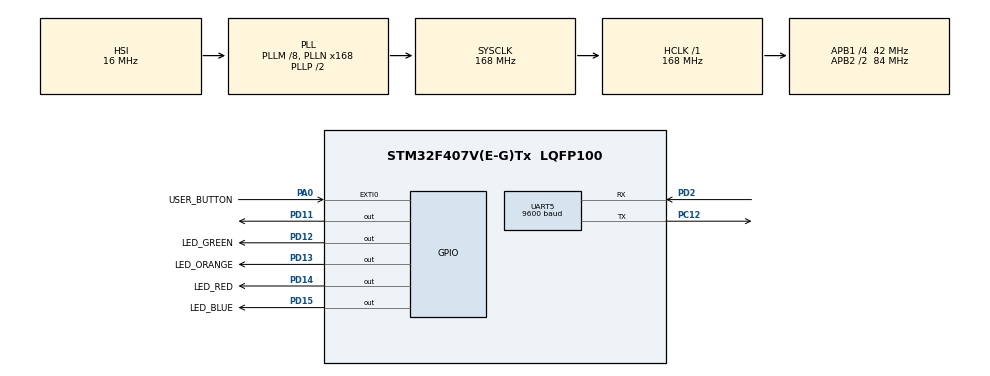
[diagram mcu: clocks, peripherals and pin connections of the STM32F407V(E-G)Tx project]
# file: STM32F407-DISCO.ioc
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Dma.Request0=UART5_RX
Dma.UART5_RX.0.Direction=DMA_PERIPH_TO_MEMORY
Dma.UART5_RX.0.FIFOMode=DMA_FIFOMODE_DISABLE
Dma.UART5_RX.0.Instance=DMA1_Stream0
Dma.UART5_RX.0.MemDataAlignment=DMA_MDATAALIGN_BYTE
Dma.UART5_RX.0.MemInc=DMA_MINC_ENABLE
Dma.UART5_RX.0.Mode=DMA_CIRCULAR
Dma.UART5_RX.0.PeriphDataAlignment=DMA_PDATAALIGN_BYTE
Dma.UART5_RX.0.PeriphInc=DMA_PINC_DISABLE
Dma.UART5_RX.0.Priority=DMA_PRIORITY_MEDIUM
Mcu.Family=STM32F4
Mcu.Name=STM32F407V(E-G)Tx
Mcu.Package=LQFP100
NVIC.DMA1_Stream0_IRQn=true\:0\:0\:false\:false\:true\:false\:true\:true
NVIC.EXTI0_IRQn=true\:0\:0\:false\:false\:true\:true\:true\:true
NVIC.PriorityGroup=NVIC_PRIORITYGROUP_0
NVIC.TIM2_IRQn=true\:0\:0\:false\:false\:true\:true\:true\:true
PA0-WKUP.GPIO_Label=USER_BUTTON
PA0-WKUP.GPIO_PuPd=GPIO_PULLDOWN
PA0-WKUP.Signal=GPXTI0
PC12.Mode=Asynchronous
PC12.Signal=UART5_TX
PD11.Signal=GPIO_Output
PD12.GPIO_Label=LED_GREEN
PD12.GPIO_PuPd=GPIO_NOPULL
PD12.GPIO_Speed=GPIO_SPEED_FREQ_VERY_HIGH
PD12.Signal=GPIO_Output
PD13.GPIO_Label=LED_ORANGE
PD13.GPIO_PuPd=GPIO_NOPULL
PD13.GPIO_Speed=GPIO_SPEED_FREQ_VERY_HIGH
PD13.Signal=GPIO_Output
PD14.GPIO_Label=LED_RED
PD14.GPIO_PuPd=GPIO_NOPULL
PD14.GPIO_Speed=GPIO_SPEED_FREQ_VERY_HIGH
PD14.Signal=GPIO_Output
PD15.GPIO_Label=LED_BLUE
PD15.GPIO_PuPd=GPIO_NOPULL
PD15.GPIO_Speed=GPIO_SPEED_FREQ_VERY_HIGH
PD15.Signal=GPIO_Output
PD2.Mode=Asynchronous
PD2.Signal=UART5_RX
PH0-OSC_IN.Mode=HSE-External-Oscillator
PH0-OSC_IN.Signal=RCC_OSC_IN
PH1-OSC_OUT.Mode=HSE-External-Oscillator
PH1-OSC_OUT.Signal=RCC_OSC_OUT
ProjectManager.HeapSize=0x200
ProjectManager.StackSize=0x400
ProjectManager.TargetToolchain=STM32CubeIDE
RCC.48MHZClocksFreq_Value=48000000
RCC.AHBFreq_Value=168000000
RCC.APB1CLKDivider=RCC_HCLK_DIV4
RCC.APB1Freq_Value=42000000
RCC.APB1TimFreq_Value=84000000
RCC.APB2CLKDivider=RCC_HCLK_DIV2
RCC.APB2Freq_Value=84000000
RCC.APB2TimFreq_Value=168000000
RCC.CortexFreq_Value=168000000
RCC.HCLKFreq_Value=168000000
RCC.HSE_VALUE=8000000
RCC.HSI_VALUE=16000000
RCC.LSE_VALUE=32768
RCC.PLLM=8
RCC.PLLN=168
RCC.PLLQ=7
RCC.SYSCLKFreq_VALUE=168000000
RCC.SYSCLKSource=RCC_SYSCLKSOURCE_PLLCLK
RCC.VCOOutputFreq_Value=336000000
TIM2.Period=9
TIM2.Prescaler=8399
UART5.BaudRate=9600
UART5.VirtualMode=Asynchronous
VP_TIM2_VS_ClockSourceINT.Mode=Internal
board=STM32F407G-DISC1

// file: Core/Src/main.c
/* USER CODE BEGIN Header */
/**
  ******************************************************************************
  * @file           : main.c
  * @brief          : Main program body
  ******************************************************************************
  * @attention
  *
  * Copyright (c) 2025 STMicroelectronics.
  * All rights reserved.
  *
  * This software is licensed under terms that can be found in the LICENSE file
  * in the root directory of this software component.
  * If no LICENSE file comes with this software, it is provided AS-IS.
  *
  ******************************************************************************
  */
/* USER CODE END Header */
#include "main.h"

/* USER CODE BEGIN Includes */
#include <string.h>
#include "terminal.h"
/* USER CODE END Includes */

TIM_HandleTypeDef htim2;

UART_HandleTypeDef huart5;
DMA_HandleTypeDef hdma_uart5_rx;

/* USER CODE BEGIN PV */
uint8_t cUartReceive;
uint8_t iRxIndex;
uint8_t length;
uint8_t iUserButtonPressed;
uint8_t iDelayCounter;
/* USER CODE END PV */

void SystemClock_Config(void);
static void MX_GPIO_Init(void);
static void MX_DMA_Init(void);
static void MX_UART5_Init(void);
static void MX_TIM2_Init(void);

int main(void)
{

  /* MCU Configuration--------------------------------------------------------*/

  /* Reset of all peripherals, Initializes the Flash interface and the Systick. */
  HAL_Init();

  /* Configure the system clock */
  SystemClock_Config();

  /* Initialize all configured peripherals */
  MX_GPIO_Init();
  MX_DMA_Init();
  MX_UART5_Init();
  MX_TIM2_Init();
  /* USER CODE BEGIN 2 */
  HAL_TIM_Base_Start_IT(&htim2);
  HAL_UART_Receive_DMA(&huart5, &cUartReceive, sizeof(cUartReceive));
  HAL_UART_Transmit(&huart5, (uint8_t *)sEntryMessage, strlen(sEntryMessage), HAL_MAX_DELAY);
  /* USER CODE END 2 */

  /* Infinite loop */
  while (1)
  {

  }
}

void SystemClock_Config(void)
{
  RCC_OscInitTypeDef RCC_OscInitStruct = {0};
  RCC_ClkInitTypeDef RCC_ClkInitStruct = {0};

  /** Configure the main internal regulator output voltage
  */
  __HAL_RCC_PWR_CLK_ENABLE();
  __HAL_PWR_VOLTAGESCALING_CONFIG(PWR_REGULATOR_VOLTAGE_SCALE1);

  /** Initializes the RCC Oscillators according to the specified parameters
  * in the RCC_OscInitTypeDef structure.
  */
  RCC_OscInitStruct.OscillatorType = RCC_OSCILLATORTYPE_HSI;
  RCC_OscInitStruct.HSIState = RCC_HSI_ON;
  RCC_OscInitStruct.HSICalibrationValue = RCC_HSICALIBRATION_DEFAULT;
  RCC_OscInitStruct.PLL.PLLState = RCC_PLL_ON;
  RCC_OscInitStruct.PLL.PLLSource = RCC_PLLSOURCE_HSI;
  RCC_OscInitStruct.PLL.PLLM = 8;
  RCC_OscInitStruct.PLL.PLLN = 168;
  RCC_OscInitStruct.PLL.PLLP = RCC_PLLP_DIV2;
  RCC_OscInitStruct.PLL.PLLQ = 7;
  if (HAL_RCC_OscConfig(&RCC_OscInitStruct) != HAL_OK)
  {
    Error_Handler();
  }

  /** Initializes the CPU, AHB and APB buses clocks
  */
  RCC_ClkInitStruct.ClockType = RCC_CLOCKTYPE_HCLK|RCC_CLOCKTYPE_SYSCLK
                              |RCC_CLOCKTYPE_PCLK1|RCC_CLOCKTYPE_PCLK2;
  RCC_ClkInitStruct.SYSCLKSource = RCC_SYSCLKSOURCE_PLLCLK;
  RCC_ClkInitStruct.AHBCLKDivider = RCC_SYSCLK_DIV1;
  RCC_ClkInitStruct.APB1CLKDivider = RCC_HCLK_DIV4;
  RCC_ClkInitStruct.APB2CLKDivider = RCC_HCLK_DIV2;

  if (HAL_RCC_ClockConfig(&RCC_ClkInitStruct, FLASH_LATENCY_5) != HAL_OK)
  {
    Error_Handler();
  }
}

static void MX_TIM2_Init(void)
{

  TIM_ClockConfigTypeDef sClockSourceConfig = {0};
  TIM_MasterConfigTypeDef sMasterConfig = {0};

  htim2.Instance = TIM2;
  htim2.Init.Prescaler = 8399;
  htim2.Init.CounterMode = TIM_COUNTERMODE_UP;
  htim2.Init.Period = 9;
  htim2.Init.ClockDivision = TIM_CLOCKDIVISION_DIV1;
  htim2.Init.AutoReloadPreload = TIM_AUTORELOAD_PRELOAD_DISABLE;
  if (HAL_TIM_Base_Init(&htim2) != HAL_OK)
  {
    Error_Handler();
  }
  sClockSourceConfig.ClockSource = TIM_CLOCKSOURCE_INTERNAL;
  if (HAL_TIM_ConfigClockSource(&htim2, &sClockSourceConfig) != HAL_OK)
  {
    Error_Handler();
  }
  sMasterConfig.MasterOutputTrigger = TIM_TRGO_RESET;
  sMasterConfig.MasterSlaveMode = TIM_MASTERSLAVEMODE_DISABLE;
  if (HAL_TIMEx_MasterConfigSynchronization(&htim2, &sMasterConfig) != HAL_OK)
  {
    Error_Handler();
  }

}

static void MX_UART5_Init(void)
{

  huart5.Instance = UART5;
  huart5.Init.BaudRate = 9600;
  huart5.Init.WordLength = UART_WORDLENGTH_8B;
  huart5.Init.StopBits = UART_STOPBITS_1;
  huart5.Init.Parity = UART_PARITY_NONE;
  huart5.Init.Mode = UART_MODE_TX_RX;
  huart5.Init.HwFlowCtl = UART_HWCONTROL_NONE;
  huart5.Init.OverSampling = UART_OVERSAMPLING_16;
  if (HAL_UART_Init(&huart5) != HAL_OK)
  {
    Error_Handler();
  }

}

static void MX_DMA_Init(void)
{

  /* DMA controller clock enable */
  __HAL_RCC_DMA1_CLK_ENABLE();

  /* DMA interrupt init */
  /* DMA1_Stream0_IRQn interrupt configuration */
  HAL_NVIC_SetPriority(DMA1_Stream0_IRQn, 0, 0);
  HAL_NVIC_EnableIRQ(DMA1_Stream0_IRQn);

}

static void MX_GPIO_Init(void)
{
  GPIO_InitTypeDef GPIO_InitStruct = {0};

  /* GPIO Ports Clock Enable */
  __HAL_RCC_GPIOH_CLK_ENABLE();
  __HAL_RCC_GPIOA_CLK_ENABLE();
  __HAL_RCC_GPIOD_CLK_ENABLE();
  __HAL_RCC_GPIOC_CLK_ENABLE();

  /*Configure GPIO pin Output Level */
  HAL_GPIO_WritePin(GPIOD, GPIO_PIN_11|LED_GREEN_Pin|LED_ORANGE_Pin|LED_RED_Pin
                          |LED_BLUE_Pin, GPIO_PIN_RESET);

  /*Configure GPIO pin : USER_BUTTON_Pin */
  GPIO_InitStruct.Pin = USER_BUTTON_Pin;
  GPIO_InitStruct.Mode = GPIO_MODE_IT_RISING;
  GPIO_InitStruct.Pull = GPIO_PULLDOWN;
  HAL_GPIO_Init(USER_BUTTON_GPIO_Port, &GPIO_InitStruct);

  /*Configure GPIO pin : PD11 */
  GPIO_InitStruct.Pin = GPIO_PIN_11;
  GPIO_InitStruct.Mode = GPIO_MODE_OUTPUT_PP;
  GPIO_InitStruct.Pull = GPIO_NOPULL;
  GPIO_InitStruct.Speed = GPIO_SPEED_FREQ_LOW;
  HAL_GPIO_Init(GPIOD, &GPIO_InitStruct);

  /*Configure GPIO pins : LED_GREEN_Pin LED_ORANGE_Pin LED_RED_Pin LED_BLUE_Pin */
  GPIO_InitStruct.Pin = LED_GREEN_Pin|LED_ORANGE_Pin|LED_RED_Pin|LED_BLUE_Pin;
  GPIO_InitStruct.Mode = GPIO_MODE_OUTPUT_PP;
  GPIO_InitStruct.Pull = GPIO_NOPULL;
  GPIO_InitStruct.Speed = GPIO_SPEED_FREQ_VERY_HIGH;
  HAL_GPIO_Init(GPIOD, &GPIO_InitStruct);

  /* EXTI interrupt init*/
  HAL_NVIC_SetPriority(EXTI0_IRQn, 0, 0);
  HAL_NVIC_EnableIRQ(EXTI0_IRQn);

}

/* USER CODE BEGIN 4 */
void HAL_UART_RxCpltCallback(UART_HandleTypeDef *huart)
{
	if(huart->Instance == UART5)
	{
		sUartReceiveMessage[iRxIndex] = cUartReceive;

		length = strlen(sUartReceiveMessage);

		if(sUartReceiveMessage[iRxIndex] == '\n' || sUartReceiveMessage[iRxIndex] == '\r')
		{
			if(iRxIndex < 1)
			{
				memset(sUartReceiveMessage, 0, sizeof(sUartReceiveMessage));
				return;
			}

			sUartReceiveMessage[iRxIndex] = '\0';
			fProcessCommand(sUartReceiveMessage);
			HAL_UART_Transmit(&huart5, (uint8_t *)"\n$ ", strlen("\n$ "), HAL_MAX_DELAY);
			memset(sUartReceiveMessage, 0, sizeof(sUartReceiveMessage));
			iRxIndex = 0;
		}
		else
		{
			iRxIndex++;
		}
	}
}

void HAL_GPIO_EXTI_Callback(uint16_t GPIO_Pin)
{
	if(GPIO_Pin == USER_BUTTON_Pin)
	{
		// Only start debounce if not already in progress
		if(!iUserButtonPressed)
		{
			iUserButtonPressed = 1;
			iDelayCounter = 0; // Reset counter at start
		}
	}
}

void HAL_TIM_PeriodElapsedCallback(TIM_HandleTypeDef *htim)
{
	if(htim->Instance == TIM2)
	{
		if(iUserButtonPressed)
		{
			uint8_t iButtonCurrentState = HAL_GPIO_ReadPin(USER_BUTTON_GPIO_Port, USER_BUTTON_Pin);
			iDelayCounter++;

			if(iDelayCounter == mDebounceDelay) // after 10 ms
			{
				if(iButtonCurrentState == GPIO_PIN_SET) // is still set?
				{
					HAL_UART_Transmit(&huart5, (uint8_t *)"Button Received!", strlen("Button Received!"), HAL_MAX_DELAY);
					HAL_UART_Transmit(&huart5, (uint8_t *)"\n$ ", strlen("\n$ "), HAL_MAX_DELAY);
				}
				// Always reset flags after debounce period, regardless of button state
				iUserButtonPressed = 0;
				iDelayCounter = 0;
			}
		}
	}
}

/* USER CODE END 4 */

void Error_Handler(void)
{
  __disable_irq();
  while (1)
  {
  }
}
